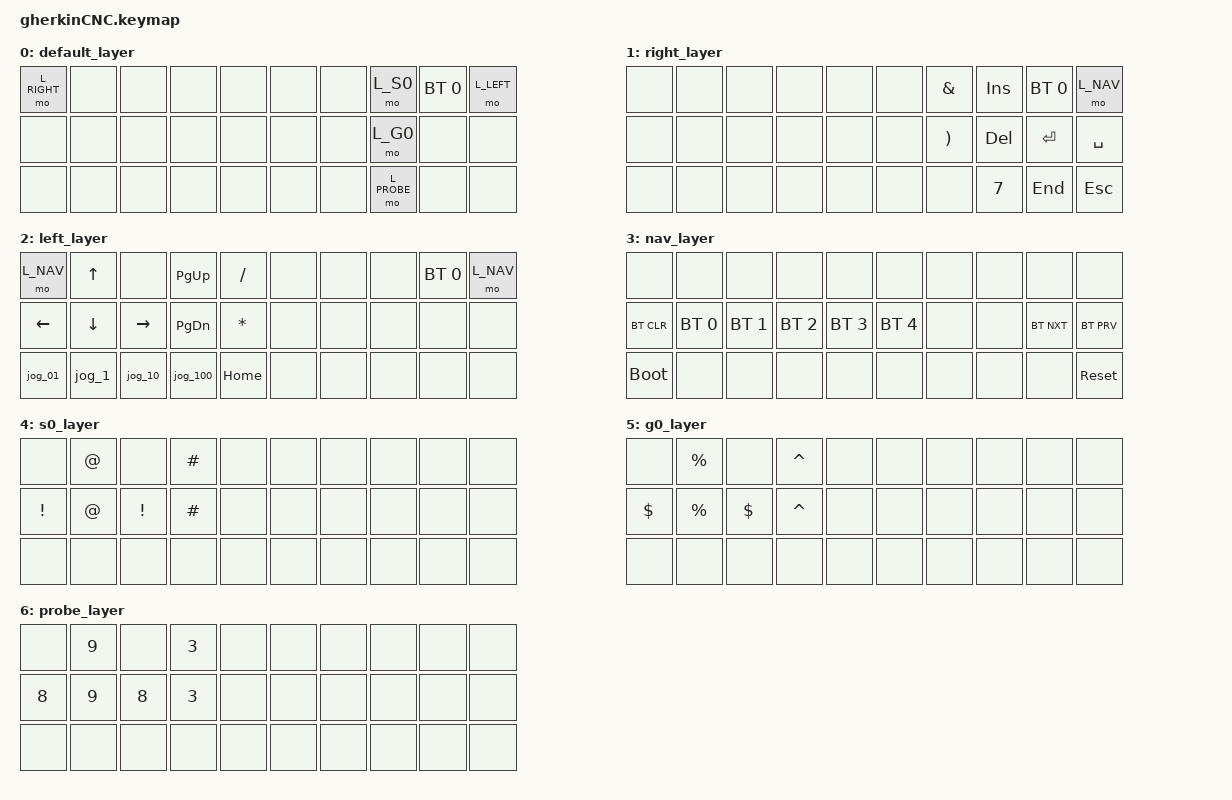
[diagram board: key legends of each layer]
/*
 * Copyright (c) 2020 The ZMK Contributors
 *
 * SPDX-License-Identifier: MIT
 */

#include <behaviors.dtsi>
#include <dt-bindings/zmk/keys.h>
#include <dt-bindings/zmk/bt.h>

#define L_DEFAULT 0
#define L_RIGHT   1
#define L_LEFT    2
#define L_NAV     3
#define L_S0      4
#define L_G0      5
#define L_PROBE   6

/ {

    macros {

            ZMK_MACRO(jog_01,
                wait-ms = <30>;
                tap-ms = <40>;
                bindings = <&kp MINUS &kp MINUS &kp MINUS>;
                )
            ZMK_MACRO(jog_1,
                wait-ms = <30>;
                tap-ms = <40>;
                bindings = <&kp MINUS &kp MINUS &kp MINUS &kp EQUAL>;
                )
            ZMK_MACRO(jog_10,
                wait-ms = <30>;
                tap-ms = <40>;
                bindings = <&kp EQUAL &kp EQUAL &kp EQUAL &kp MINUS>;
                )
            ZMK_MACRO(jog_100,
                wait-ms = <30>;
                tap-ms = <40>;
                bindings = <&kp EQUAL &kp EQUAL &kp EQUAL>;
                )
        };

    keymap {
        compatible = "zmk,keymap";

        default_layer {
            bindings = <&mo L_RIGHT &none &none &none &none &none &none &mo L_S0    &bt BT_SEL 0  &mo L_LEFT
                        &none       &none &none &none &none &none &none &mo L_G0    &none         &none
                        &none       &none &none &none &none &none &none &mo L_PROBE &none         &none
                        >;
        };

        right_layer {
            bindings = <&none &none &none &none &none &none &kp AMPS &kp INS  &bt BT_SEL 0 &mo L_NAV
                        &none &none &none &none &none &none &kp RPAR &kp DEL  &kp RET      &kp SPACE
                        &none &none &none &none &none &none &none    &kp N7   &kp END      &kp ESC
                 >;
        };

        left_layer {
            bindings = <&mo L_NAV &kp UP   &none     &kp PG_UP &kp SLASH &none    &none &none &bt BT_SEL 0 &mo L_NAV
                        &kp LEFT  &kp DOWN &kp RIGHT &kp PG_DN &kp STAR  &none    &none &none &none        &none
                        &jog_01   &jog_1   &jog_10   &jog_100  &kp HOME    &none    &none &none &none        &none
                        >;
        };

        nav_layer {
            bindings = <&none       &none        &none        &none        &none        &none        &none &none &none      &none
                        &bt BT_CLR  &bt BT_SEL 0 &bt BT_SEL 1 &bt BT_SEL 2 &bt BT_SEL 3 &bt BT_SEL 4 &none &none &bt BT_NXT &bt BT_PRV
                        &bootloader &none        &none        &none        &none        &none        &none &none &none      &sys_reset

                        >;
        };

        s0_layer {
        bindings = <&none     &kp AT   &none     &kp HASH &none &none &none &none &none  &none
                    &kp EXCL  &kp AT   &kp EXCL  &kp HASH &none &none &none &none &none  &none
                    &none     &none    &none     &none    &none &none &none &none &none  &none
                    >;
        };

        g0_layer {
        bindings = <&none       &kp PERCENT &none      &kp CARET &none &none &none &none &none  &none
                    &kp DOLLAR  &kp PERCENT &kp DOLLAR &kp CARET &none &none &none &none &none  &none
                    &none       &none       &none      &none     &none &none &none &none &none  &none
                    >;
        };

        probe_layer {
        bindings = <&none   &kp N9 &none  &kp N3 &none &none &none &none &none  &none
                    &kp N8  &kp N9 &kp N8 &kp N3 &none &none &none &none &none  &none
                    &none   &none  &none  &none  &none &none &none &none &none  &none
                    >;
        };

    };
};
